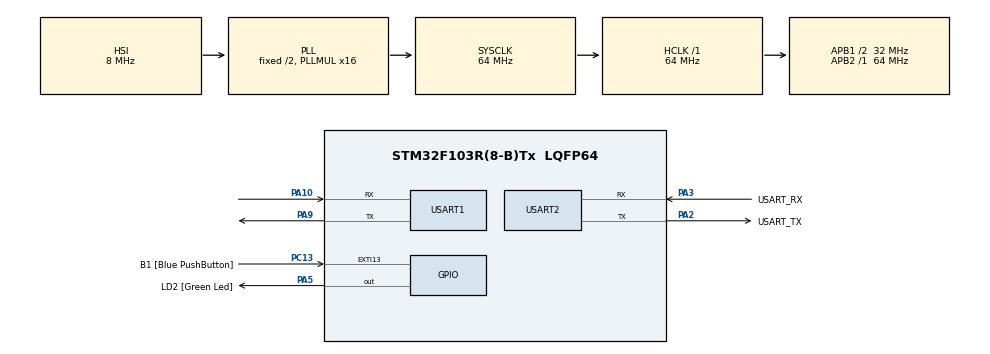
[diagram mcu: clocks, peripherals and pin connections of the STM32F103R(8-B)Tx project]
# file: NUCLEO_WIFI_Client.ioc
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Mcu.Family=STM32F1
Mcu.Name=STM32F103R(8-B)Tx
Mcu.Package=LQFP64
NVIC.EXTI15_10_IRQn=true\:0\:0\:false\:false\:true\:true\:true
NVIC.PriorityGroup=NVIC_PRIORITYGROUP_4
NVIC.USART1_IRQn=true\:0\:0\:false\:false\:true\:true\:true
PA10.Mode=Asynchronous
PA10.Signal=USART1_RX
PA13.GPIO_Label=TMS
PA13.Mode=Serial_Wire
PA13.Signal=SYS_JTMS-SWDIO
PA14.GPIO_Label=TCK
PA14.Mode=Serial_Wire
PA14.Signal=SYS_JTCK-SWCLK
PA2.GPIO_Label=USART_TX
PA2.GPIO_Mode=GPIO_MODE_AF_PP
PA2.GPIO_PuPd=GPIO_NOPULL
PA2.GPIO_Speed=GPIO_SPEED_FREQ_LOW
PA2.Mode=Asynchronous
PA2.Signal=USART2_TX
PA3.GPIO_Label=USART_RX
PA3.GPIO_Mode=GPIO_MODE_AF_PP
PA3.GPIO_PuPd=GPIO_NOPULL
PA3.GPIO_Speed=GPIO_SPEED_FREQ_LOW
PA3.Mode=Asynchronous
PA3.Signal=USART2_RX
PA5.GPIO_Label=LD2 [Green Led]
PA5.GPIO_ModeDefaultOutputPP=GPIO_MODE_OUTPUT_PP
PA5.GPIO_PuPd=GPIO_NOPULL
PA5.GPIO_Speed=GPIO_SPEED_FREQ_LOW
PA5.Signal=GPIO_Output
PA9.Mode=Asynchronous
PA9.Signal=USART1_TX
PB3.GPIO_Label=SWO
PB3.Signal=SYS_JTDO-TRACESWO
PC13-TAMPER-RTC.GPIO_Label=B1 [Blue PushButton]
PC13-TAMPER-RTC.GPIO_PuPd=GPIO_NOPULL
PC13-TAMPER-RTC.Signal=GPXTI13
PC14-OSC32_IN.Mode=LSE-External-Oscillator
PC14-OSC32_IN.Signal=RCC_OSC32_IN
PC15-OSC32_OUT.Mode=LSE-External-Oscillator
PC15-OSC32_OUT.Signal=RCC_OSC32_OUT
PD0-OSC_IN.Signal=RCC_OSC_IN
PD1-OSC_OUT.Signal=RCC_OSC_OUT
ProjectManager.HeapSize=0x200
ProjectManager.StackSize=0x400
ProjectManager.TargetToolchain=STM32CubeIDE
RCC.AHBFreq_Value=64000000
RCC.APB1CLKDivider=RCC_HCLK_DIV2
RCC.APB1Freq_Value=32000000
RCC.APB1TimFreq_Value=64000000
RCC.APB2Freq_Value=64000000
RCC.APB2TimFreq_Value=64000000
RCC.HCLKFreq_Value=64000000
RCC.PLLMUL=RCC_PLL_MUL16
RCC.RTCClockSelection=RCC_RTCCLKSOURCE_LSE
RCC.SYSCLKFreq_VALUE=64000000
RCC.SYSCLKSource=RCC_SYSCLKSOURCE_PLLCLK
RCC.USBFreq_Value=64000000
USART1.VirtualMode=VM_ASYNC
USART2.VirtualMode=VM_ASYNC
board=NUCLEO-F103RB

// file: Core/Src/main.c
/* USER CODE BEGIN Header */
/**
  ******************************************************************************
  * @file           : main.c
  * @brief          : Main program body
  ******************************************************************************
  * @attention
  *
  * <h2><center>&copy; Copyright (c) 2020 STMicroelectronics.
  * All rights reserved.</center></h2>
  *
  * This software component is licensed by ST under BSD 3-Clause license,
  * the "License"; You may not use this file except in compliance with the
  * License. You may obtain a copy of the License at:
  *                        opensource.org/licenses/BSD-3-Clause
  *
  ******************************************************************************
  */
/* USER CODE END Header */

#include "main.h"
#include "usart.h"
#include "gpio.h"

/* USER CODE BEGIN Includes */
#include "wifi.h"
/* USER CODE END Includes */

/* USER CODE BEGIN PV */
uint8_t Uart1_Rx_Char;		// 用来接收串口1收到的的数据
uint8_t Uart1_Rx_Buffer[100] = {0};
uint8_t Wifi_Command_Buffer[100] = {0};
uint8_t Rx_Buffer_Size = 0;
uint8_t Rx_Line_Flag = 0;
uint8_t Wifi_Get_Command_Flag = 0;
/* USER CODE END PV */

void SystemClock_Config(void);

int main(void)
{

  /* MCU Configuration--------------------------------------------------------*/

  /* Reset of all peripherals, Initializes the Flash interface and the Systick. */
  HAL_Init();

  /* Configure the system clock */
  SystemClock_Config();

  /* Initialize all configured peripherals */
  MX_GPIO_Init();
  MX_USART2_UART_Init();
  MX_USART1_UART_Init();
  /* USER CODE BEGIN 2 */
  Client_Init();
  //Client_SentTo_Server("test1");
  //Client_SentTo_Server("test2");
  //Client_SentTo_Server("test3");
  //Client_SentTo_Server("test4");
  //Client_SentTo_Server("test5");
  HAL_Delay(50);
  HAL_UART_Receive_IT(&huart1,&Uart1_Rx_Char,1);
  /* USER CODE END 2 */

  /* Infinite loop */
  /* USER CODE BEGIN WHILE */
  while (1)
  {
	  if(Wifi_Get_Command_Flag == 1) {
		  /*收到数据会拉起此标志，在此写业务代码 Wifi_Command_Buffer中为收到的数据*/
		  //此时Wifi_Command_Buffer的尾部为\r\0   指令匹配时需要注意
		  Client_SentTo_Server("i got");
		  Client_SentTo_Server(Wifi_Command_Buffer);
		  Wifi_Get_Command_Flag = 0;
	  }
	  if(Rx_Line_Flag == 1) {
		  Strcpy(Wifi_Command_Buffer, Uart1_Rx_Buffer);
		  Wifi_Get_Command_Flag = 1;
		  Rx_Line_Flag = 0;
	  }

    /* USER CODE END WHILE */

  }
}

void SystemClock_Config(void)
{
  RCC_OscInitTypeDef RCC_OscInitStruct = {0};
  RCC_ClkInitTypeDef RCC_ClkInitStruct = {0};

  /** Initializes the CPU, AHB and APB busses clocks
  */
  RCC_OscInitStruct.OscillatorType = RCC_OSCILLATORTYPE_HSI;
  RCC_OscInitStruct.HSIState = RCC_HSI_ON;
  RCC_OscInitStruct.HSICalibrationValue = RCC_HSICALIBRATION_DEFAULT;
  RCC_OscInitStruct.PLL.PLLState = RCC_PLL_ON;
  RCC_OscInitStruct.PLL.PLLSource = RCC_PLLSOURCE_HSI_DIV2;
  RCC_OscInitStruct.PLL.PLLMUL = RCC_PLL_MUL16;
  if (HAL_RCC_OscConfig(&RCC_OscInitStruct) != HAL_OK)
  {
    Error_Handler();
  }
  /** Initializes the CPU, AHB and APB busses clocks
  */
  RCC_ClkInitStruct.ClockType = RCC_CLOCKTYPE_HCLK|RCC_CLOCKTYPE_SYSCLK
                              |RCC_CLOCKTYPE_PCLK1|RCC_CLOCKTYPE_PCLK2;
  RCC_ClkInitStruct.SYSCLKSource = RCC_SYSCLKSOURCE_PLLCLK;
  RCC_ClkInitStruct.AHBCLKDivider = RCC_SYSCLK_DIV1;
  RCC_ClkInitStruct.APB1CLKDivider = RCC_HCLK_DIV2;
  RCC_ClkInitStruct.APB2CLKDivider = RCC_HCLK_DIV1;

  if (HAL_RCC_ClockConfig(&RCC_ClkInitStruct, FLASH_LATENCY_2) != HAL_OK)
  {
    Error_Handler();
  }
}

/* USER CODE BEGIN 4 */

//UART接收中断
void HAL_UART_RxCpltCallback(UART_HandleTypeDef *huart) {
	if(huart->Instance == huart1.Instance) {
		if(Rx_Line_Flag == 0) {
			if(Uart1_Rx_Char == '\n') {
				Uart1_Rx_Buffer[Rx_Buffer_Size] = '\0';
				//if(Rx_Buffer_Size >= 5) {
					Rx_Line_Flag = 1;
				//}
				if(Rx_Buffer_Size == 0){
					Rx_Line_Flag = 0;
				}
				Rx_Buffer_Size = 0;
			}else {
				Uart1_Rx_Buffer[Rx_Buffer_Size] = Uart1_Rx_Char;
				Rx_Buffer_Size++;
			}
		}
		HAL_UART_Receive_IT(&huart1,&Uart1_Rx_Char,1);
	}
}

/* USER CODE END 4 */

void Error_Handler(void)
{
}

/************************ (C) COPYRIGHT STMicroelectronics *****END OF FILE****/
